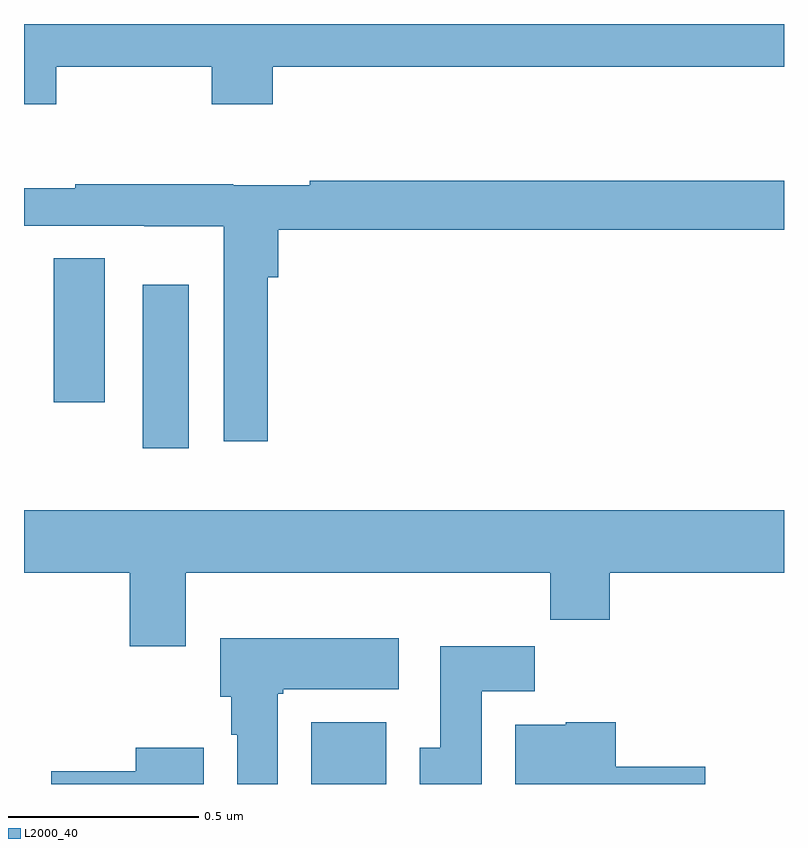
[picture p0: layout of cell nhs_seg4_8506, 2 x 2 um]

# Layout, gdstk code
import gdstk
lib = gdstk.Library(unit=1e-6, precision=1e-09)
def R(c, l, rs):  # rectangles x0, y0, x1, y1
    for r in rs: c.add(gdstk.rectangle(r[:2], r[2:], *l))
def P(c, l, *ps):  # polygons
    for p in ps: c.add(gdstk.Polygon(p, *l))
L2000_40 = (2000, 40)

nhs_seg4_8506 = lib.new_cell('nhs_seg4_8506')
R(nhs_seg4_8506, L2000_40, [(215.756,826.9,215.953,827.062), (215.312,827.784,215.434,828.214), (215.078,827.904,215.212,828.284)])
P(nhs_seg4_8506, L2000_40, [(215.085,828.788),(215.494,828.788),(215.494,828.689),(215.654,828.689),(215.654,828.788),(217,828.788),(217,828.9),(215,828.9),(215,828.689),(215.085,828.689)],
  [(215.642,828.233),(215.669,828.233),(215.669,828.358),(217,828.358),(217,828.487),(215.752,828.487),(215.752,828.476),(215.55,828.476),(215.55,828.478),(215.135,828.478),(215.135,828.468),(215,828.468),(215,828.369),(215.316,828.369),(215.316,828.368),(215.526,828.368),(215.526,827.802),(215.642,827.802)],
  [(215.425,827.456),(216.385,827.456),(216.385,827.332),(216.542,827.332),(216.542,827.456),(217,827.456),(217,827.62),(215,827.62),(215,827.456),(215.278,827.456),(215.278,827.262),(215.425,827.262)],
  [(215.668,827.137),(215.682,827.137),(215.682,827.15),(215.986,827.15),(215.986,827.284),(215.516,827.284),(215.516,827.13),(215.546,827.13),(215.546,827.03),(215.561,827.03),(215.561,826.9),(215.668,826.9)],
  [(216.205,827.144),(216.344,827.144),(216.344,827.263),(216.095,827.263),(216.095,826.996),(216.041,826.996),(216.041,826.9),(216.205,826.9)],
  [(216.793,826.946),(216.557,826.946),(216.557,827.062),(216.426,827.062),(216.426,827.056),(216.293,827.056),(216.293,826.9),(216.793,826.9)],
  [(215.473,826.996),(215.294,826.996),(215.294,826.933),(215.072,826.933),(215.072,826.9),(215.473,826.9)])

lib.write_gds('nhs_seg4_8506.gds')
